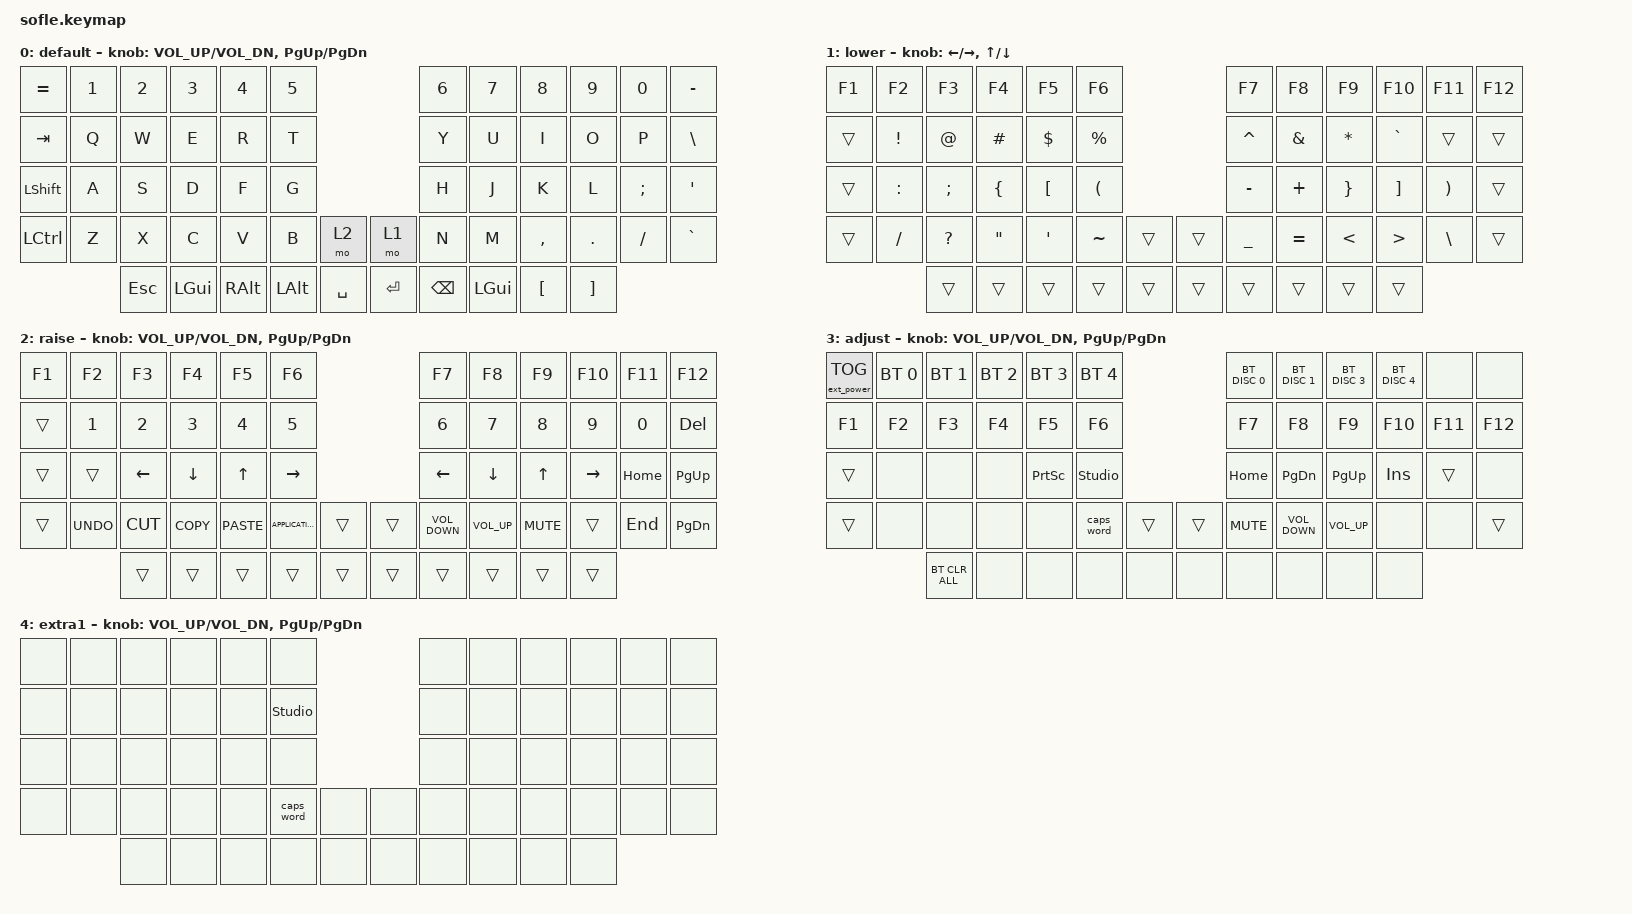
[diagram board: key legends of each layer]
/*
 * Copyright (c) 2020 The ZMK Contributors
 *
 * SPDX-License-Identifier: MIT
 */

#include <behaviors.dtsi>
#include <dt-bindings/zmk/bt.h>
#include <dt-bindings/zmk/ext_power.h>
#include <dt-bindings/zmk/keys.h>

#define BASE 0
#define LOWER 1
#define RAISE 2
#define ADJUST 3
#define extra_layer 4

/ {
    // Activate ADJUST layer by pressing raise and lower

    conditional_layers {
        compatible = "zmk,conditional-layers";

        adjust_layer {
            if-layers = <LOWER RAISE>;
            then-layer = <ADJUST>;
        };
    };

    combos { compatible = "zmk,combos"; };

    behaviors {
        caps: caps {
            compatible = "zmk,behavior-caps-word";
            label = "CAPS";
            #binding-cells = <0>;
            continue-list = <POUND MINUS BACKSPACE UNDERSCORE>;
        };
    };

    keymap {
        compatible = "zmk,keymap";

        default_layer {
            display-name = "default";

            // ------------------------------------------------------------------------------------------------------------
            // |   `   |  1  |  2  |  3   |  4   |  5   |                   |  6   |  7    |  8    |  9   |   0   |       |
            // |  ESC  |  Q  |  W  |  E   |  R   |  T   |                   |  Y   |  U    |  I    |  O   |   P   | BKSPC |
            // |  TAB  |  A  |  S  |  D   |  F   |  G   |                   |  H   |  J    |  K    |  L   |   ;   |   '   |
            // | SHIFT |  Z  |  X  |  C   |  V   |  B   |  MUTE  |  |       |  N   |  M    |  ,    |  .   |   /   | SHIFT |
            //               | GUI | ALT  | CTRL | LOWER|  ENTER |  | SPACE | RAISE| CTRL  | ALT   | GUI  |

            bindings = <
&kp EQUAL         &kp N1  &kp N2   &kp N3        &kp N4         &kp N5                                &kp N6         &kp N7        &kp N8            &kp N9             &kp N0     &kp MINUS
&kp TAB           &kp Q   &kp W    &kp E         &kp R          &kp T                                 &kp Y          &kp U         &kp I             &kp O              &kp P      &kp BACKSLASH
&kp LEFT_SHIFT    &kp A   &kp S    &kp D         &kp F          &kp G                                 &kp H          &kp J         &kp K             &kp L              &kp SEMI   &kp SINGLE_QUOTE
&kp LEFT_CONTROL  &kp Z   &kp X    &kp C         &kp V          &kp B         &mo 2        &mo 1      &kp N          &kp M         &kp COMMA         &kp PERIOD         &kp SLASH  &kp GRAVE
                          &kp ESC  &kp LEFT_GUI  &kp RIGHT_ALT  &kp LEFT_ALT  &kp SPACE    &kp ENTER  &kp BACKSPACE  &kp LEFT_GUI  &kp LEFT_BRACKET  &kp RIGHT_BRACKET
            >;

            sensor-bindings = <&inc_dec_kp C_VOL_UP C_VOL_DN &inc_dec_kp PG_UP PG_DN>;
        };

        lower_layer {
            display-name = "lower";

            // TODO: Some binds are waiting for shifted keycode support.
            // ------------------------------------------------------------------------------------------------------------
            // |       |  F1 |  F2 |  F3  |  F4  |  F5  |                   |  F6  |  F7   |  F8   |  F9  |  F10  |  F11  |
            // |   `   |  1  |  2  |  3   |  4   |  5   |                   |  6   |  7    |  8    |  9   |   0   |  F12  |
            // |       |  !  |  @  |  #   |  $   |  %   |                   |  ^   |  &    |  *    |  (   |   )   |   |   |
            // |       |  =  |  -  |  +   |  {   |  }   |        |  |       |  [   |  ]    |  ;    |  :   |   \   |       |
            //               |     |      |      |      |        |  |       |      |       |       |      |

            bindings = <
&kp F1  &kp F2           &kp F3         &kp F4             &kp F5            &kp F6                                  &kp F7          &kp F8         &kp F9           &kp F10            &kp F11                &kp F12
&trans  &kp EXCLAMATION  &kp AT_SIGN    &kp HASH           &kp DOLLAR        &kp PERCENT                             &kp CARET       &kp AMPERSAND  &kp ASTERISK     &kp GRAVE          &trans                 &trans
&trans  &kp COLON        &kp SEMICOLON  &kp LEFT_BRACE     &kp LEFT_BRACKET  &kp LEFT_PARENTHESIS                    &kp MINUS       &kp PLUS       &kp RIGHT_BRACE  &kp RIGHT_BRACKET  &kp RIGHT_PARENTHESIS  &trans
&trans  &kp SLASH        &kp QUESTION   &kp DOUBLE_QUOTES  &kp SINGLE_QUOTE  &kp TILDE             &trans    &trans  &kp UNDERSCORE  &kp EQUAL      &kp LESS_THAN    &kp GREATER_THAN   &kp BACKSLASH          &trans
                         &trans         &trans             &trans            &trans                &trans    &trans  &trans          &trans         &trans           &trans
            >;

            sensor-bindings =
                <&inc_dec_kp LEFT_ARROW RIGHT_ARROW>,
                <&inc_dec_kp UP_ARROW DOWN_ARROW>;
        };

        raise_layer {
            display-name = "raise";

            // ------------------------------------------------------------------------------------------------------------
            // | BTCLR | BT1  | BT2  |  BT3  |  BT4  |  BT5 |                |      |      |       |      |       |       |
            // |       | INS  | PSCR | GUI   |       |      |                | PGUP |      |   ^   |      |       |       |
            // |       | ALT  | CTRL | SHIFT |       | CAPS |                | PGDN |   <- |   v   |  ->  |  DEL  | BKSPC |
            // |       | UNDO | CUT  | COPY  | PASTE |      |      |  |      |      |      |       |      |       |       |
            //                |      |       |       |      |      |  |      |      |      |       |      |

            bindings = <
&kp F1  &kp F2        &kp F3          &kp F4          &kp F5        &kp F6                               &kp F7             &kp F8           &kp F9        &kp F10          &kp F11   &kp F12
&trans  &kp NUMBER_1  &kp NUMBER_2    &kp NUMBER_3    &kp NUMBER_4  &kp N5                               &kp NUMBER_6       &kp N7           &kp N8        &kp N9           &kp N0    &kp DEL
&trans  &trans        &kp LEFT_ARROW  &kp DOWN_ARROW  &kp UP_ARROW  &kp RIGHT_ARROW                      &kp LEFT_ARROW     &kp DOWN_ARROW   &kp UP_ARROW  &kp RIGHT_ARROW  &kp HOME  &kp PAGE_UP
&trans  &kp K_UNDO    &kp K_CUT       &kp K_COPY      &kp K_PASTE   &kp K_APPLICATION  &trans    &trans  &kp C_VOLUME_DOWN  &kp C_VOLUME_UP  &kp C_MUTE    &trans           &kp END   &kp PAGE_DOWN
                      &trans          &trans          &trans        &trans             &trans    &trans  &trans             &trans           &trans        &trans
            >;

            sensor-bindings = <&inc_dec_kp C_VOL_UP C_VOL_DN &inc_dec_kp PG_UP PG_DN>;
        };

        adjust_layer {
            // ----------------------------------------------------------------------------------------------------------------------------
            // | BTCLR  |  BT1    |  BT2    |   BT3   |   BT4   |   BT5   |                  |      |      |       |      |       |       |
            // | EXTPWR | RGB_HUD | RGB_HUI | RGB_SAD | RGB_SAI | RGB_EFF |                  |      |      |       |      |       |       |
            // |        | RGB_BRD | RGB_BRI |         |         |         |                  |      |      |       |      |       |       |
            // |        |         |         |         |         |         | RGB_TOG | |      |      |      |       |      |       |       |
            //                    |         |         |         |         |         | |      |      |      |       |      |

            display-name = "adjust";
            bindings = <
&ext_power EP_TOG  &bt BT_SEL 0  &bt BT_SEL 1    &bt BT_SEL 2  &bt BT_SEL 3     &bt BT_SEL 4                      &bt BT_DISC 0  &bt BT_DISC 1      &bt BT_DISC 3    &bt BT_DISC 4  &none    &none
&kp F1             &kp F2        &kp F3          &kp F4        &kp F5           &kp F6                            &kp F7         &kp F8             &kp F9           &kp F10        &kp F11  &kp F12
&trans             &none         &none           &none         &kp PRINTSCREEN  &studio_unlock                    &kp HOME       &kp PAGE_DOWN      &kp PAGE_UP      &kp INSERT     &trans   &none
&trans             &none         &none           &none         &none            &caps_word      &trans    &trans  &kp C_MUTE     &kp C_VOLUME_DOWN  &kp C_VOLUME_UP  &none          &none    &trans
                                 &bt BT_CLR_ALL  &none         &none            &none           &none     &none   &none          &none              &none            &none
            >;

            sensor-bindings = <&inc_dec_kp C_VOL_UP C_VOL_DN &inc_dec_kp PG_UP PG_DN>;
        };

        extra_layer {
            // ----------------------------------------------------------------------------------------------------------------------------
            // | BTCLR  |  BT1    |  BT2    |   BT3   |   BT4   |   BT5   |                  |      |      |       |      |       |       |
            // | EXTPWR | RGB_HUD | RGB_HUI | RGB_SAD | RGB_SAI | RGB_EFF |                  |      |      |       |      |       |       |
            // |        | RGB_BRD | RGB_BRI |         |         |         |                  |      |      |       |      |       |       |
            // |        |         |         |         |         |         | RGB_TOG | |      |      |      |       |      |       |       |
            //                    |         |         |         |         |         | |      |      |      |       |      |

            display-name = "extra1";
            bindings = <
&none  &none  &none  &none  &none  &none                           &none  &none  &none  &none  &none  &none
&none  &none  &none  &none  &none  &studio_unlock                  &none  &none  &none  &none  &none  &none
&none  &none  &none  &none  &none  &none                           &none  &none  &none  &none  &none  &none
&none  &none  &none  &none  &none  &caps_word      &none    &none  &none  &none  &none  &none  &none  &none
              &none  &none  &none  &none           &none    &none  &none  &none  &none  &none
            >;

            sensor-bindings = <&inc_dec_kp C_VOL_UP C_VOL_DN &inc_dec_kp PG_UP PG_DN>;
        };
    };
};
